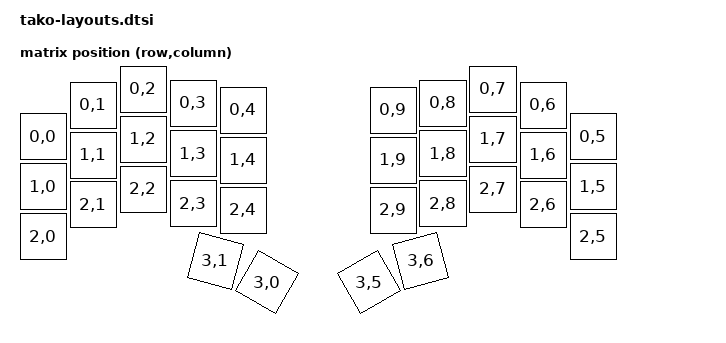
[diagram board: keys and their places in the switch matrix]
/*
 * Copyright (c) 2023 Sviatoslav Bulbakha
 * SPDX-License-Identifier: MIT
 * Shared 34-key geometry and position order for both halves and the dongle.
 */
#include <dt-bindings/zmk/matrix_transform.h>
/* Geometry from ZMK v0.3 cuddlykeyboards/ferris.dtsi, kept inline so firmware
 * and keymap-drawer consume the same 34 key positions without downloading ZMK. */
#include <physical_layouts.dtsi>

/ {
    cuddlykeyboards_ferris_layout: cuddlykeyboards_ferris_layout {
        compatible = "zmk,physical-layout";
        display-name = "Default";

        keys  //                     w   h    x    y     rot    rx    ry
            = <&key_physical_attrs 100 100    0   95       0     0     0>
            , <&key_physical_attrs 100 100  100   32       0     0     0>
            , <&key_physical_attrs 100 100  200    0       0     0     0>
            , <&key_physical_attrs 100 100  300   28       0     0     0>
            , <&key_physical_attrs 100 100  400   42       0     0     0>
            , <&key_physical_attrs 100 100  700   42       0     0     0>
            , <&key_physical_attrs 100 100  800   28       0     0     0>
            , <&key_physical_attrs 100 100  900    0       0     0     0>
            , <&key_physical_attrs 100 100 1000   32       0     0     0>
            , <&key_physical_attrs 100 100 1100   95       0     0     0>
            , <&key_physical_attrs 100 100    0  195       0     0     0>
            , <&key_physical_attrs 100 100  100  132       0     0     0>
            , <&key_physical_attrs 100 100  200  100       0     0     0>
            , <&key_physical_attrs 100 100  300  129       0     0     0>
            , <&key_physical_attrs 100 100  400  142       0     0     0>
            , <&key_physical_attrs 100 100  700  142       0     0     0>
            , <&key_physical_attrs 100 100  800  129       0     0     0>
            , <&key_physical_attrs 100 100  900  100       0     0     0>
            , <&key_physical_attrs 100 100 1000  132       0     0     0>
            , <&key_physical_attrs 100 100 1100  195       0     0     0>
            , <&key_physical_attrs 100 100    0  295       0     0     0>
            , <&key_physical_attrs 100 100  100  231       0     0     0>
            , <&key_physical_attrs 100 100  200  200       0     0     0>
            , <&key_physical_attrs 100 100  300  229       0     0     0>
            , <&key_physical_attrs 100 100  400  242       0     0     0>
            , <&key_physical_attrs 100 100  700  242       0     0     0>
            , <&key_physical_attrs 100 100  800  229       0     0     0>
            , <&key_physical_attrs 100 100  900  200       0     0     0>
            , <&key_physical_attrs 100 100 1000  231       0     0     0>
            , <&key_physical_attrs 100 100 1100  295       0     0     0>
            , <&key_physical_attrs 100 100  330  355    1500   430   455>
            , <&key_physical_attrs 100 100  430  355    3000   430   455>
            , <&key_physical_attrs 100 100  670  355 (-3000)   770   455>
            , <&key_physical_attrs 100 100  770  355 (-1500)   770   455>
            ;
    };
};

/ {
    chosen {
        zmk,physical-layout = &cuddlykeyboards_ferris_layout;
    };

    default_transform: keymap_transform_0 {
        compatible = "zmk,matrix-transform";
        columns = <10>;
        rows = <4>;
        map = <
            RC(0,0) RC(0,1) RC(0,2) RC(0,3) RC(0,4) RC(0,9) RC(0,8) RC(0,7) RC(0,6) RC(0,5)
            RC(1,0) RC(1,1) RC(1,2) RC(1,3) RC(1,4) RC(1,9) RC(1,8) RC(1,7) RC(1,6) RC(1,5)
            RC(2,0) RC(2,1) RC(2,2) RC(2,3) RC(2,4) RC(2,9) RC(2,8) RC(2,7) RC(2,6) RC(2,5)
            RC(3,1) RC(3,0) RC(3,5) RC(3,6)
        >;
    };
};

/* Bind the same transform to Studio geometry on all three devices. */
&cuddlykeyboards_ferris_layout {
    transform = <&default_transform>;
};

